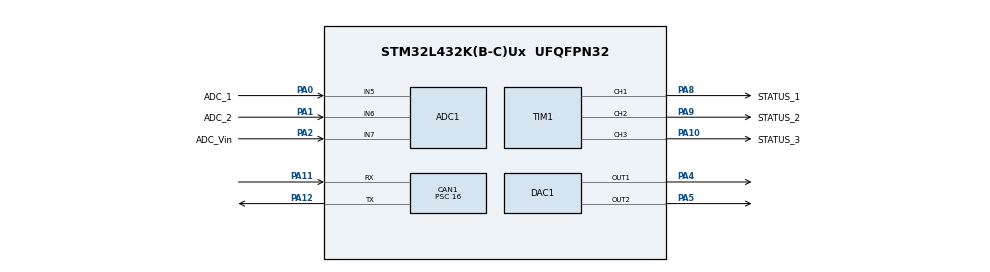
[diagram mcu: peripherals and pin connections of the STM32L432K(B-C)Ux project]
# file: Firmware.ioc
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ADC1.Channel-0\#ChannelRegularConversion=ADC_CHANNEL_5
ADC1.NbrOfConversionFlag=1
ADC1.OffsetNumber-0\#ChannelRegularConversion=ADC_OFFSET_NONE
ADC1.Rank-0\#ChannelRegularConversion=1
ADC1.SamplingTime-0\#ChannelRegularConversion=ADC_SAMPLETIME_2CYCLES_5
ADC1.master=1
CAN1.CalculateBaudRate=83333
CAN1.CalculateTimeBit=12000.00
CAN1.CalculateTimeQuantum=4000.0
CAN1.Prescaler=16
DAC1.DAC_Channel-DAC_OUT2=DAC_CHANNEL_2
Mcu.Family=STM32L4
Mcu.Name=STM32L432K(B-C)Ux
Mcu.Package=UFQFPN32
NVIC.PriorityGroup=NVIC_PRIORITYGROUP_4
PA0.GPIO_Label=ADC_1
PA0.Signal=ADCx_IN5
PA1.GPIO_Label=ADC_2
PA1.Signal=ADCx_IN6
PA10.GPIO_Label=STATUS_3
PA10.Signal=S_TIM1_CH3
PA11.Mode=CAN_Activate
PA11.Signal=CAN1_RX
PA12.Mode=CAN_Activate
PA12.Signal=CAN1_TX
PA13\ (JTMS-SWDIO).Mode=Serial_Wire
PA13\ (JTMS-SWDIO).Signal=SYS_JTMS-SWDIO
PA14\ (JTCK-SWCLK).Mode=Serial_Wire
PA14\ (JTCK-SWCLK).Signal=SYS_JTCK-SWCLK
PA2.GPIO_Label=ADC_Vin
PA2.Signal=ADCx_IN7
PA4.Signal=COMP_DAC11_group
PA5.Signal=COMP_DAC12_group
PA8.GPIO_Label=STATUS_1
PA8.Signal=S_TIM1_CH1
PA9.GPIO_Label=STATUS_2
PA9.Signal=S_TIM1_CH2
ProjectManager.HeapSize=0x200
ProjectManager.StackSize=0x400
ProjectManager.TargetToolchain=Makefile
RCC.ADCFreq_Value=32000000
RCC.HSE_VALUE=8000000
RCC.HSI48_VALUE=48000000
RCC.HSI_VALUE=16000000
RCC.LSE_VALUE=32768
RCC.MSI_VALUE=4000000
RCC.PLLSAI1N=16
RCC.USBFreq_Value=32000000
RCC.VCOOutputFreq_Value=32000000
SH.ADCx_IN5.0=ADC1_IN5,IN5-Single-Ended
SH.ADCx_IN6.0=ADC1_IN6,IN6-Single-Ended
SH.ADCx_IN7.0=ADC1_IN7,IN7-Single-Ended
SH.COMP_DAC11_group.0=DAC1_OUT1,DAC_OUT1
SH.COMP_DAC12_group.0=DAC1_OUT2,DAC_OUT2
SH.S_TIM1_CH1.0=TIM1_CH1,PWM Generation1 CH1
SH.S_TIM1_CH2.0=TIM1_CH2,PWM Generation2 CH2
SH.S_TIM1_CH3.0=TIM1_CH3,PWM Generation3 CH3
TIM1.Channel-PWM\ Generation1\ CH1=TIM_CHANNEL_1
TIM1.Channel-PWM\ Generation2\ CH2=TIM_CHANNEL_2
TIM1.Channel-PWM\ Generation3\ CH3=TIM_CHANNEL_3
board=custom

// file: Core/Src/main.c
/* USER CODE BEGIN Header */
/**
  ******************************************************************************
  * @file           : main.c
  * @brief          : Main program body
  ******************************************************************************
  * @attention
  *
  * <h2><center>&copy; Copyright (c) 2021 STMicroelectronics.
  * All rights reserved.</center></h2>
  *
  * This software component is licensed by ST under BSD 3-Clause license,
  * the "License"; You may not use this file except in compliance with the
  * License. You may obtain a copy of the License at:
  *                        opensource.org/licenses/BSD-3-Clause
  *
  ******************************************************************************
  */
/* USER CODE END Header */
#include "main.h"

/* USER CODE BEGIN PD */
#define TX_ID 0x123
#define TX_DELAY_MS 10

/* USER CODE END PD */

ADC_HandleTypeDef hadc1;
DMA_HandleTypeDef hdma_adc1;

CAN_HandleTypeDef hcan1;

DAC_HandleTypeDef hdac1;

TIM_HandleTypeDef htim1;

/* USER CODE BEGIN PV */

CAN_TxHeaderTypeDef   TxHeader;
CAN_TxHeaderTypeDef   RxHeader;
uint8_t               TxData[8];
uint32_t              TxMailbox;

/* USER CODE END PV */

void SystemClock_Config(void);
static void MX_GPIO_Init(void);
static void MX_ADC1_Init(void);
static void MX_CAN1_Init(void);
static void MX_DAC1_Init(void);
static void MX_DMA_Init(void);
static void MX_TIM1_Init(void);

int main(void)
{

  /* MCU Configuration--------------------------------------------------------*/

  /* Reset of all peripherals, Initializes the Flash interface and the Systick. */
  HAL_Init();

  /* Configure the system clock */
  SystemClock_Config();

  /* Initialize all configured peripherals */
  MX_GPIO_Init();
  MX_ADC1_Init();
  MX_CAN1_Init();
  MX_DAC1_Init();
  MX_DMA_Init();
  MX_TIM1_Init();
  /* USER CODE BEGIN 2 */

  TxHeader.IDE = CAN_ID_STD;
  TxHeader.StdId = TX_ID;
  TxHeader.RTR = CAN_RTR_DATA;
  TxHeader.DLC = 6;

  uint32_t adc_inputs[3];
  HAL_ADC_Start_DMA(&hadc1, adc_inputs, 3); // start adc in DMA mode

  /* USER CODE END 2 */

  /* Infinite loop */
  /* USER CODE BEGIN WHILE */
  while (1)
  {
    HAL_Delay(TX_DELAY_MS); // wait so that we don't swamp the CAN bus

    // Pack ADC data into CAN frame
    TxData[0] = (adc_inputs[0] >> 8) % 0xFF;
    TxData[1] = (adc_inputs[0] >> 0) % 0xFF;
    TxData[2] = (adc_inputs[1] >> 8) % 0xFF;
    TxData[3] = (adc_inputs[1] >> 0) % 0xFF;
    TxData[4] = (adc_inputs[2] >> 8) % 0xFF;
    TxData[5] = (adc_inputs[2] >> 0) % 0xFF;

    if (HAL_CAN_AddTxMessage(&hcan1, &TxHeader, TxData, &TxMailbox) != HAL_OK)
    {
      Error_Handler ();
    }

    /* USER CODE END WHILE */

  }
}

void SystemClock_Config(void)
{
  RCC_OscInitTypeDef RCC_OscInitStruct = {0};
  RCC_ClkInitTypeDef RCC_ClkInitStruct = {0};

  /** Configure the main internal regulator output voltage
  */
  if (HAL_PWREx_ControlVoltageScaling(PWR_REGULATOR_VOLTAGE_SCALE1) != HAL_OK)
  {
    Error_Handler();
  }
  /** Initializes the RCC Oscillators according to the specified parameters
  * in the RCC_OscInitTypeDef structure.
  */
  RCC_OscInitStruct.OscillatorType = RCC_OSCILLATORTYPE_MSI;
  RCC_OscInitStruct.MSIState = RCC_MSI_ON;
  RCC_OscInitStruct.MSICalibrationValue = 0;
  RCC_OscInitStruct.MSIClockRange = RCC_MSIRANGE_6;
  RCC_OscInitStruct.PLL.PLLState = RCC_PLL_NONE;
  if (HAL_RCC_OscConfig(&RCC_OscInitStruct) != HAL_OK)
  {
    Error_Handler();
  }
  /** Initializes the CPU, AHB and APB buses clocks
  */
  RCC_ClkInitStruct.ClockType = RCC_CLOCKTYPE_HCLK|RCC_CLOCKTYPE_SYSCLK
                              |RCC_CLOCKTYPE_PCLK1|RCC_CLOCKTYPE_PCLK2;
  RCC_ClkInitStruct.SYSCLKSource = RCC_SYSCLKSOURCE_MSI;
  RCC_ClkInitStruct.AHBCLKDivider = RCC_SYSCLK_DIV1;
  RCC_ClkInitStruct.APB1CLKDivider = RCC_HCLK_DIV1;
  RCC_ClkInitStruct.APB2CLKDivider = RCC_HCLK_DIV1;

  if (HAL_RCC_ClockConfig(&RCC_ClkInitStruct, FLASH_LATENCY_0) != HAL_OK)
  {
    Error_Handler();
  }
}

static void MX_ADC1_Init(void)
{

  ADC_ChannelConfTypeDef sConfig = {0};

  /** Common config
  */
  hadc1.Instance = ADC1;
  hadc1.Init.ClockPrescaler = ADC_CLOCK_ASYNC_DIV1;
  hadc1.Init.Resolution = ADC_RESOLUTION_12B;
  hadc1.Init.DataAlign = ADC_DATAALIGN_RIGHT;
  hadc1.Init.ScanConvMode = ADC_SCAN_ENABLE;
  hadc1.Init.EOCSelection = ADC_EOC_SINGLE_CONV;
  hadc1.Init.LowPowerAutoWait = DISABLE;
  hadc1.Init.ContinuousConvMode = ENABLE;
  hadc1.Init.NbrOfConversion = 3;
  hadc1.Init.DiscontinuousConvMode = DISABLE;
  hadc1.Init.ExternalTrigConv = ADC_SOFTWARE_START;
  hadc1.Init.ExternalTrigConvEdge = ADC_EXTERNALTRIGCONVEDGE_NONE;
  hadc1.Init.DMAContinuousRequests = DISABLE;
  hadc1.Init.Overrun = ADC_OVR_DATA_PRESERVED;
  hadc1.Init.OversamplingMode = DISABLE;
  if (HAL_ADC_Init(&hadc1) != HAL_OK)
  {
    Error_Handler();
  }
  /** Configure Regular Channel
  */
  sConfig.Channel = ADC_CHANNEL_5;
  sConfig.Rank = ADC_REGULAR_RANK_1;
  sConfig.SamplingTime = ADC_SAMPLETIME_2CYCLES_5;
  sConfig.SingleDiff = ADC_SINGLE_ENDED;
  sConfig.OffsetNumber = ADC_OFFSET_NONE;
  sConfig.Offset = 0;
  if (HAL_ADC_ConfigChannel(&hadc1, &sConfig) != HAL_OK)
  {
    Error_Handler();
  }
  /** Configure Regular Channel
  */
  sConfig.Channel = ADC_CHANNEL_6;
  sConfig.Rank = ADC_REGULAR_RANK_2;
  if (HAL_ADC_ConfigChannel(&hadc1, &sConfig) != HAL_OK)
  {
    Error_Handler();
  }
  /** Configure Regular Channel
  */
  sConfig.Channel = ADC_CHANNEL_7;
  sConfig.Rank = ADC_REGULAR_RANK_3;
  if (HAL_ADC_ConfigChannel(&hadc1, &sConfig) != HAL_OK)
  {
    Error_Handler();
  }

}

static void MX_CAN1_Init(void)
{

  hcan1.Instance = CAN1;
  hcan1.Init.Prescaler = 16;
  hcan1.Init.Mode = CAN_MODE_NORMAL;
  hcan1.Init.SyncJumpWidth = CAN_SJW_1TQ;
  hcan1.Init.TimeSeg1 = CAN_BS1_1TQ;
  hcan1.Init.TimeSeg2 = CAN_BS2_1TQ;
  hcan1.Init.TimeTriggeredMode = DISABLE;
  hcan1.Init.AutoBusOff = DISABLE;
  hcan1.Init.AutoWakeUp = DISABLE;
  hcan1.Init.AutoRetransmission = DISABLE;
  hcan1.Init.ReceiveFifoLocked = DISABLE;
  hcan1.Init.TransmitFifoPriority = DISABLE;
  if (HAL_CAN_Init(&hcan1) != HAL_OK)
  {
    Error_Handler();
  }

}

static void MX_DAC1_Init(void)
{

  DAC_ChannelConfTypeDef sConfig = {0};

  /** DAC Initialization
  */
  hdac1.Instance = DAC1;
  if (HAL_DAC_Init(&hdac1) != HAL_OK)
  {
    Error_Handler();
  }
  /** DAC channel OUT1 config
  */
  sConfig.DAC_SampleAndHold = DAC_SAMPLEANDHOLD_DISABLE;
  sConfig.DAC_Trigger = DAC_TRIGGER_NONE;
  sConfig.DAC_OutputBuffer = DAC_OUTPUTBUFFER_ENABLE;
  sConfig.DAC_ConnectOnChipPeripheral = DAC_CHIPCONNECT_DISABLE;
  sConfig.DAC_UserTrimming = DAC_TRIMMING_FACTORY;
  if (HAL_DAC_ConfigChannel(&hdac1, &sConfig, DAC_CHANNEL_1) != HAL_OK)
  {
    Error_Handler();
  }
  /** DAC channel OUT2 config
  */
  if (HAL_DAC_ConfigChannel(&hdac1, &sConfig, DAC_CHANNEL_2) != HAL_OK)
  {
    Error_Handler();
  }

}

static void MX_TIM1_Init(void)
{

  TIM_MasterConfigTypeDef sMasterConfig = {0};
  TIM_OC_InitTypeDef sConfigOC = {0};
  TIM_BreakDeadTimeConfigTypeDef sBreakDeadTimeConfig = {0};

  htim1.Instance = TIM1;
  htim1.Init.Prescaler = 0;
  htim1.Init.CounterMode = TIM_COUNTERMODE_UP;
  htim1.Init.Period = 65535;
  htim1.Init.ClockDivision = TIM_CLOCKDIVISION_DIV1;
  htim1.Init.RepetitionCounter = 0;
  htim1.Init.AutoReloadPreload = TIM_AUTORELOAD_PRELOAD_DISABLE;
  if (HAL_TIM_PWM_Init(&htim1) != HAL_OK)
  {
    Error_Handler();
  }
  sMasterConfig.MasterOutputTrigger = TIM_TRGO_RESET;
  sMasterConfig.MasterOutputTrigger2 = TIM_TRGO2_RESET;
  sMasterConfig.MasterSlaveMode = TIM_MASTERSLAVEMODE_DISABLE;
  if (HAL_TIMEx_MasterConfigSynchronization(&htim1, &sMasterConfig) != HAL_OK)
  {
    Error_Handler();
  }
  sConfigOC.OCMode = TIM_OCMODE_PWM1;
  sConfigOC.Pulse = 0;
  sConfigOC.OCPolarity = TIM_OCPOLARITY_HIGH;
  sConfigOC.OCNPolarity = TIM_OCNPOLARITY_HIGH;
  sConfigOC.OCFastMode = TIM_OCFAST_DISABLE;
  sConfigOC.OCIdleState = TIM_OCIDLESTATE_RESET;
  sConfigOC.OCNIdleState = TIM_OCNIDLESTATE_RESET;
  if (HAL_TIM_PWM_ConfigChannel(&htim1, &sConfigOC, TIM_CHANNEL_1) != HAL_OK)
  {
    Error_Handler();
  }
  if (HAL_TIM_PWM_ConfigChannel(&htim1, &sConfigOC, TIM_CHANNEL_2) != HAL_OK)
  {
    Error_Handler();
  }
  if (HAL_TIM_PWM_ConfigChannel(&htim1, &sConfigOC, TIM_CHANNEL_3) != HAL_OK)
  {
    Error_Handler();
  }
  sBreakDeadTimeConfig.OffStateRunMode = TIM_OSSR_DISABLE;
  sBreakDeadTimeConfig.OffStateIDLEMode = TIM_OSSI_DISABLE;
  sBreakDeadTimeConfig.LockLevel = TIM_LOCKLEVEL_OFF;
  sBreakDeadTimeConfig.DeadTime = 0;
  sBreakDeadTimeConfig.BreakState = TIM_BREAK_DISABLE;
  sBreakDeadTimeConfig.BreakPolarity = TIM_BREAKPOLARITY_HIGH;
  sBreakDeadTimeConfig.BreakFilter = 0;
  sBreakDeadTimeConfig.Break2State = TIM_BREAK2_DISABLE;
  sBreakDeadTimeConfig.Break2Polarity = TIM_BREAK2POLARITY_HIGH;
  sBreakDeadTimeConfig.Break2Filter = 0;
  sBreakDeadTimeConfig.AutomaticOutput = TIM_AUTOMATICOUTPUT_DISABLE;
  if (HAL_TIMEx_ConfigBreakDeadTime(&htim1, &sBreakDeadTimeConfig) != HAL_OK)
  {
    Error_Handler();
  }
  HAL_TIM_MspPostInit(&htim1);

}

static void MX_DMA_Init(void)
{

  /* DMA controller clock enable */
  __HAL_RCC_DMA1_CLK_ENABLE();

  /* DMA interrupt init */
  /* DMA1_Channel1_IRQn interrupt configuration */
  HAL_NVIC_SetPriority(DMA1_Channel1_IRQn, 0, 0);
  HAL_NVIC_EnableIRQ(DMA1_Channel1_IRQn);

}

static void MX_GPIO_Init(void)
{

  /* GPIO Ports Clock Enable */
  __HAL_RCC_GPIOA_CLK_ENABLE();

}

void Error_Handler(void)
{
  __disable_irq();
  while (1)
  {
  }
}

/************************ (C) COPYRIGHT STMicroelectronics *****END OF FILE****/
